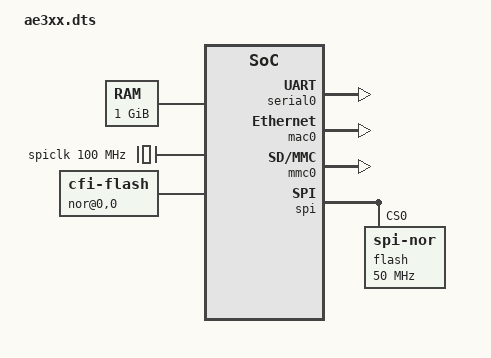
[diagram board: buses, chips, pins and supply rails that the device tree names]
/dts-v1/;
/ {
	compatible = "nds32 ae3xx";
	#address-cells = <1>;
	#size-cells = <1>;
	interrupt-parent = <&intc>;

	aliases {
		uart0 = &serial0;
		ethernet0 = &mac0;
		spi0 = &spi;
	} ;

	chosen {
		/* bootargs = "console=ttyS0,38400n8 earlyprintk=uart8250-32bit,0xf0300000 debug bootmem_debug memblock=debug loglevel=7"; */
		bootargs = "console=ttyS0,38400n8 earlyprintk=uart8250-32bit,0xf0300000 debug loglevel=7";
		stdout-path = "uart0:38400n8";
		tick-timer = &timer0;
	};

	memory@0 {
		device_type = "memory";
		reg = <0x00000000 0x40000000>;
	};

	spiclk: virt_100mhz {
		#clock-cells = <0>;
		compatible = "fixed-clock";
		clock-frequency = <100000000>;
	};

	cpus {
		#address-cells = <1>;
		#size-cells = <0>;
		cpu@0 {
			compatible = "andestech,n13";
			reg = <0>;
			/* FIXME: to fill correct frqeuency */
			clock-frequency = <60000000>;
		};
	};

	intc: interrupt-controller {
		compatible = "andestech,atnointc010";
		#interrupt-cells = <1>;
		interrupt-controller;
	};

	serial0: serial@f0300000 {
		compatible = "andestech,uart16550", "ns16550a";
		reg = <0xf0300000 0x1000>;
		interrupts = <7 4>;
		clock-frequency = <14745600>;
		reg-shift = <2>;
		reg-offset = <32>;
		no-loopback-test = <1>;
	};

	timer0: timer@f0400000 {
		compatible = "andestech,atcpit100";
		reg = <0xf0400000 0x1000>;
		interrupts = <2 4>;
		clock-frequency = <30000000>;
	};

	mac0: mac@e0100000 {
		compatible = "andestech,atmac100";
		reg = <0xe0100000 0x1000>;
		interrupts = <25 4>;
	};

	mmc0: mmc@f0e00000 {
		compatible = "andestech,atfsdc010";
		max-frequency = <100000000>;
		fifo-depth = <0x10>;
		reg = <0xf0e00000 0x1000>;
		interrupts = <17 4>;
	};

	nor@0,0 {
		compatible = "cfi-flash";
		reg = <0x88000000 0x1000>;
		bank-width = <2>;
		device-width = <1>;
	};

	spi: spi@f0b00000 {
		compatible = "andestech,atcspi200";
		reg = <0xf0b00000 0x1000>;
		#address-cells = <1>;
		#size-cells = <0>;
		num-cs = <1>;
		clocks = <&spiclk>;
		interrupts = <3 4>;
			flash@0 {
			compatible = "jedec,spi-nor";
			spi-max-frequency = <50000000>;
			reg = <0>;
			spi-cpol;
			spi-cpha;
		};
	};
};
